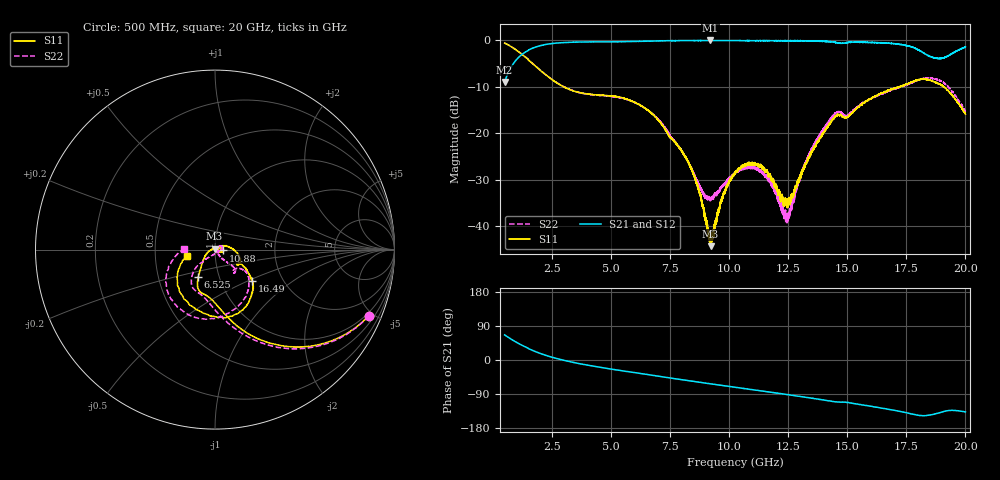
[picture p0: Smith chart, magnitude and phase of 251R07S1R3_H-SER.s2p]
!{201R07S1R3}
!Johanson Technology Inc.
!www.johansontechnology.com
!Test Board Conditions:
!Substrate Type  RO4350B
!Substrate Thickness  10 mil
!Substrate Dk  3.66
!TL Type: GCPW
!TL Trace Width  21 mil
!TL Gap  20 mil
!Electrode orientation  Horizontal
!DUT TOPOLOGY	SERIES
!Mounting Pad LxW  16x21 mil
!Agilent Technologies,N5230A,MY45001966,A.07.50.67
!Agilent N5230A: A.07.50.67
! Created Mon Mar  9 16:22:40 2020
# mhz S ma R 50
! 2 Port Network Data from SP1.SP block
! freq  magS11  angS11  magS21  angS21  magS12  angS12  magS22  angS22
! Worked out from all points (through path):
!   19501 points, 500 MHz to 20 GHz, reference 50 ohm
!   highest |S21| = -0.04 dB at 9.207 GHz (marker M1); lowest = -9.0 dB at 500 MHz (marker M2)
!   group delay of S21, straight-line fit = 26.4 ps
!   lowest |S11| = -44.4 dB at 9.214 GHz (marker M3), VSWR 1.01, Z = 49.8 + j0.566 ohm
!   |S11| at or under -10 dB: 2.984 GHz to 17.2 GHz (14.22 GHz wide, 141 % of centre); 17.20211 GHz to 17.20394 GHz (1.83 MHz wide, 0.0106 % of centre); 19.07 GHz to end of sweep (the widest 3 of 9)
!   |S22| runs from -39.3 to -0.6 dB; largest |S21 - S12| = 0.015
!   S11 on the Smith chart (normalised r, x): 500 MHz: 0.84, -4.73; 6.525 GHz: 0.79, -0.25; 10.88 GHz: 1.10, -0.01; 16.49 GHz: 1.41, -0.53; 20 GHz: 0.73, -0.05
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500  0.9325 -23.2  0.3546 66.3  0.3557 66.4  0.9325 -23.3
1133  0.7381 -47.2  0.6693 42.2  0.6688 42.1  0.7408 -48.0
1959  0.4872 -69.9  0.8676 18.4  0.8688 18.5  0.4887 -72.3
3750  0.2705 -96.1  0.9574 -10.7  0.9574 -10.7  0.2692 -104.2
6525  0.179 -121.3  0.9766 -38.1  0.9786 -38.2  0.1795 -133.3
7000  0.1386 -126.2  0.9844 -42.7  0.9847 -42.7  0.1403 -137.1
8347  0.04461 -158.9  0.9919 -55.1  0.9935 -55.1  0.04436 -122.7
9207  0.006605 113.1  0.9956 -62.8  0.9906 -62.8  0.0192 -52.1
9214  0.006051 110.0  0.9942 -62.8  0.9924 -62.9  0.01917 -53.3
9730  0.02016 26.1  0.9934 -67.3  0.991 -67.4  0.02708 -13.7
10250  0.03785 9.1  0.9924 -71.9  0.9918 -71.9  0.03763 5.1
10885  0.04701 -5.4  0.9917 -77.5  0.9924 -77.4  0.04291 21.9
11660  0.03571 -23.1  0.9897 -84.2  0.9908 -84.1  0.03224 37.5
12468  0.01619 2.1  0.9906 -91.0  0.9929 -91.4  0.01319 -7.4
13500  0.06209 20.6  0.985 -100.9  0.984 -100.8  0.06708 -51.6
14514  0.1521 -21.6  0.9462 -110.7  0.9433 -110.6  0.1654 -46.7
16493  0.271 -39.9  0.9351 -127.3  0.9318 -127.3  0.2654 -44.6
16750  0.2869 -42.4  0.9312 -130.0  0.9214 -130.2  0.283 -48.7
17677  0.3509 -57.9  0.8579 -141.8  0.8505 -141.4  0.3427 -69.7
18349  0.3778 -85.2  0.7003 -146.7  0.6973 -146.4  0.3928 -102.3
19151  0.3085 -129.4  0.6565 -135.0  0.6597 -135.0  0.3364 -143.6
20000  0.1598 -166.8  0.846 -137.1  0.8457 -137.1  0.1703 178.5
